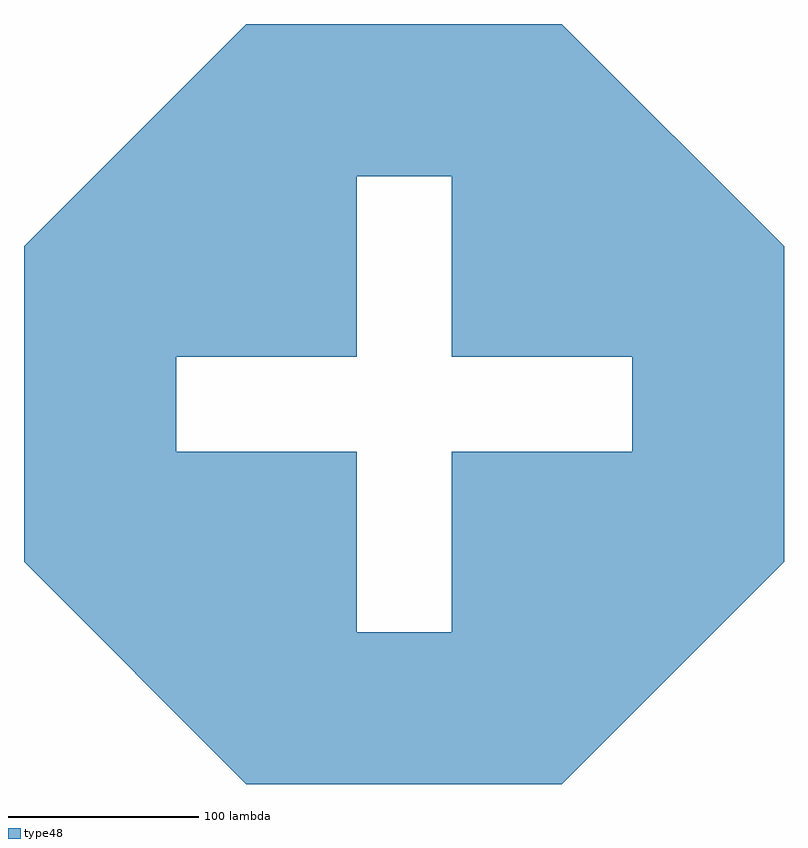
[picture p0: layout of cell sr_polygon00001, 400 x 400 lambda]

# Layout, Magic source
magic
tech sky130seal_ring
<< type48 >>
tri 0 283 117 400 se
rect 117 320 283 400
rect 117 283 175 320
rect 0 225 175 283
rect 225 283 283 320
tri 283 283 400 400 sw
rect 225 225 400 283
rect 0 175 80 225
rect 320 175 400 225
rect 0 117 175 175
tri 0 0 117 117 ne
rect 117 80 175 117
rect 225 117 400 175
rect 225 80 283 117
rect 117 0 283 80
tri 283 0 400 117 nw
<< end >>
